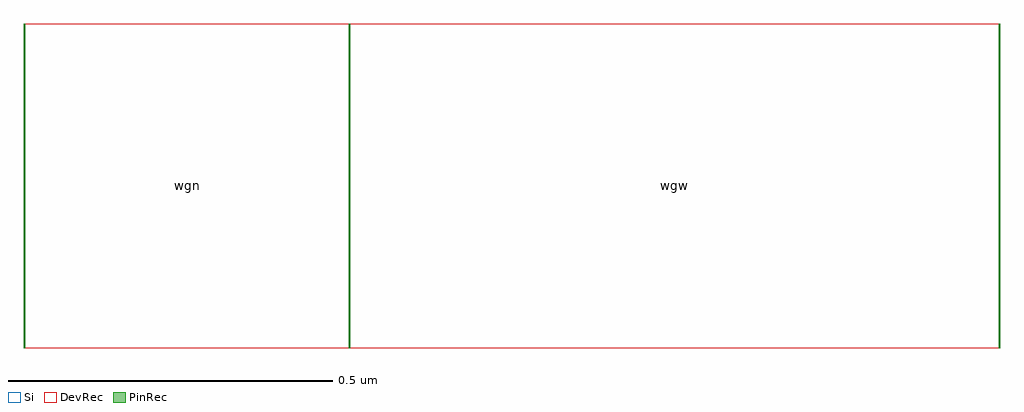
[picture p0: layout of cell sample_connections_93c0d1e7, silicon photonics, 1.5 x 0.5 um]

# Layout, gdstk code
import gdstk
lib = gdstk.Library(unit=1e-6, precision=1e-09)
def R(c, l, rs):  # rectangles x0, y0, x1, y1
    for r in rs: c.add(gdstk.rectangle(r[:2], r[2:], *l))
Si = (1, 0)
PinRec = (1, 10)
DevRec = (68, 0)

straight_length1 = lib.new_cell('straight_length1')
R(straight_length1, Si, [(0,-0.25,1,0.25)])
R(straight_length1, DevRec, [(0,-0.25,1,0.25)])
straight_length1.add(gdstk.FlexPath([(0.001,0),(-0.001,0)], 0.5, ends="flush", simple_path=True, layer=1, datatype=10))  # PinRec
straight_length1.add(gdstk.FlexPath([(0.999,0),(1.001,0)], 0.5, ends="flush", simple_path=True, layer=1, datatype=10))  # PinRec
straight_length1.add(gdstk.Label('o1', (0,0), layer=1, texttype=10))
straight_length1.add(gdstk.Label('o2', (1,0), layer=1, texttype=10))

straight_length0p5 = lib.new_cell('straight_length0p5')
R(straight_length0p5, Si, [(0,-0.25,0.5,0.25)])
R(straight_length0p5, DevRec, [(0,-0.25,0.5,0.25)])
straight_length0p5.add(gdstk.FlexPath([(0.001,0),(-0.001,0)], 0.5, ends="flush", simple_path=True, layer=1, datatype=10))  # PinRec
straight_length0p5.add(gdstk.FlexPath([(0.499,0),(0.501,0)], 0.5, ends="flush", simple_path=True, layer=1, datatype=10))  # PinRec
straight_length0p5.add(gdstk.Label('o1', (0,0), layer=1, texttype=10))
straight_length0p5.add(gdstk.Label('o2', (0.5,0), layer=1, texttype=10))

sample_connections_93c0d = lib.new_cell('sample_connections_93c0d1e7')
sample_connections_93c0d.add(gdstk.Reference(straight_length1, (0.5,0)))
sample_connections_93c0d.add(gdstk.Reference(straight_length0p5, (0,0)))
sample_connections_93c0d.add(gdstk.Label('wgw', (1,0), layer=206, texttype=0))
sample_connections_93c0d.add(gdstk.Label('wgn', (0.25,0), layer=206, texttype=0))

lib.write_gds('sample_connections_93c0d1e7.gds')
